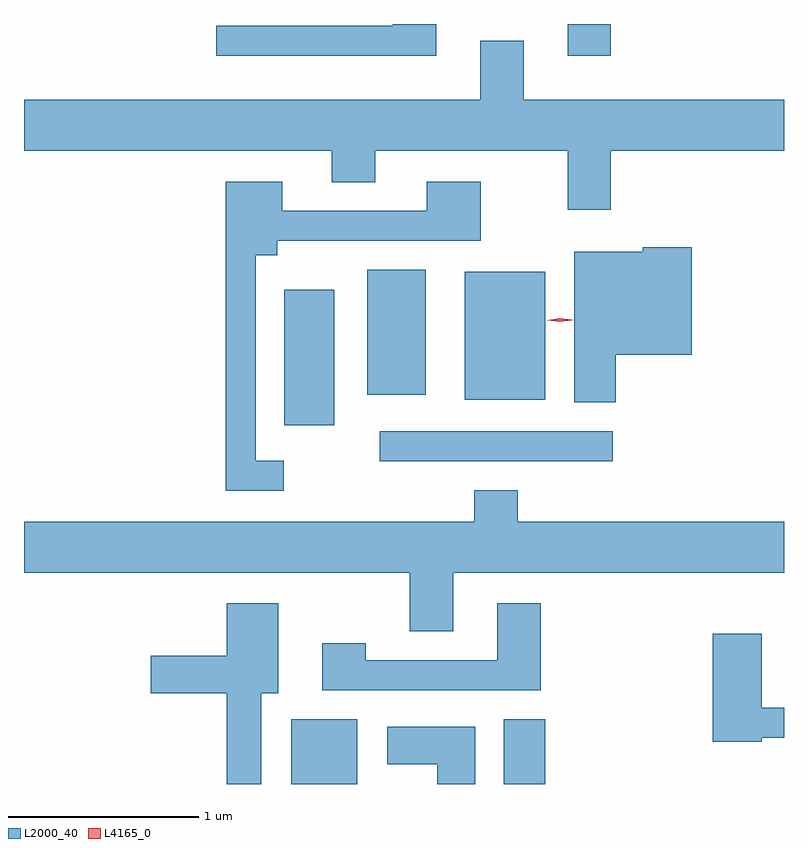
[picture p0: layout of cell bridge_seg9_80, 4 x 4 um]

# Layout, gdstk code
import gdstk
lib = gdstk.Library(unit=1e-6, precision=1e-09)
def R(c, l, rs):  # rectangles x0, y0, x1, y1
    for r in rs: c.add(gdstk.rectangle(r[:2], r[2:], *l))
def P(c, l, *ps):  # polygons
    for p in ps: c.add(gdstk.Polygon(p, *l))
L2000_40 = (2000, 40)
L4165_0 = (4165, 0)

bridge_seg9_80 = lib.new_cell('bridge_seg9_80')
R(bridge_seg9_80, L2000_40, [(1719.316,1990.703,1719.664,1991.044), (1720.436,1990.703,1720.654,1991.044), (1719.783,1992.401,1721.008,1992.559), (1719.281,1992.591,1719.544,1993.304), (1720.231,1992.726,1720.654,1993.399), (1719.716,1992.751,1720.024,1993.409), (1720.771,1994.536,1720.999,1994.703)])
P(bridge_seg9_80, L2000_40, [(1720.079,1994.703),(1719.851,1994.703),(1719.851,1994.694),(1718.923,1994.694),(1718.923,1994.536),(1720.079,1994.536)],
  [(1720.999,1994.036),(1721.91,1994.036),(1721.91,1994.304),(1720.539,1994.304),(1720.539,1994.614),(1720.311,1994.614),(1720.311,1994.304),(1717.91,1994.304),(1717.91,1994.036),(1719.531,1994.036),(1719.531,1993.871),(1719.759,1993.871),(1719.759,1994.036),(1720.771,1994.036),(1720.771,1993.726),(1720.999,1993.726)],
  [(1719.278,1992.404),(1719.129,1992.404),(1719.129,1993.486),(1719.244,1993.486),(1719.244,1993.561),(1720.314,1993.561),(1720.314,1993.874),(1720.031,1993.874),(1720.031,1993.719),(1719.269,1993.719),(1719.269,1993.874),(1718.971,1993.874),(1718.971,1992.246),(1719.278,1992.246)],
  [(1721.024,1992.961),(1721.424,1992.961),(1721.424,1993.529),(1721.166,1993.529),(1721.166,1993.504),(1720.806,1993.504),(1720.806,1992.711),(1721.024,1992.711)],
  [(1720.169,1991.816),(1721.91,1991.816),(1721.91,1992.084),(1720.509,1992.084),(1720.509,1992.249),(1720.281,1992.249),(1720.281,1992.084),(1717.91,1992.084),(1717.91,1991.816),(1719.941,1991.816),(1719.941,1991.506),(1720.169,1991.506)],
  [(1719.159,1991.181),(1719.249,1991.181),(1719.249,1991.654),(1718.976,1991.654),(1718.976,1991.379),(1718.576,1991.379),(1718.576,1991.181),(1718.976,1991.181),(1718.976,1990.703),(1719.159,1990.703)],
  [(1720.629,1991.654),(1720.401,1991.654),(1720.401,1991.354),(1719.709,1991.354),(1719.709,1991.444),(1719.481,1991.444),(1719.481,1991.196),(1720.629,1991.196)],
  [(1721.794,1990.946),(1721.91,1990.946),(1721.91,1991.104),(1721.794,1991.104),(1721.794,1991.494),(1721.536,1991.494),(1721.536,1990.926),(1721.794,1990.926)],
  [(1720.284,1991.004),(1719.821,1991.004),(1719.821,1990.806),(1720.086,1990.806),(1720.086,1990.703),(1720.284,1990.703)])
P(bridge_seg9_80, L4165_0, [(1720.73,1993.135),(1720.664,1993.144),(1720.664,1993.144),(1720.664,1993.145),(1720.73,1993.155),(1720.796,1993.146),(1720.796,1993.146),(1720.796,1993.145)])

lib.write_gds('bridge_seg9_80.gds')
